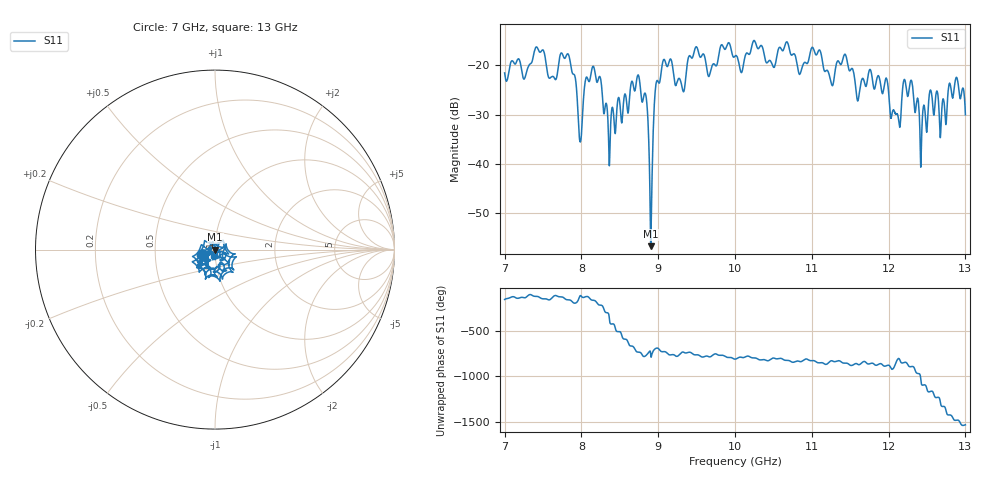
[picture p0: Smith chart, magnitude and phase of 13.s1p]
[Version] 2.0
! Rohde & Schwarz Vector Network Analyzer
! Rohde-Schwarz,ZNL20-2Port,1323001220200009,1.71.1.10-23.02.1.238
! Trace info:
! Nominal Param -> Actual Exported Buffer
! S11 -> S22
! Created: GMT+3 2024-09-24 16:38:59
# Hz S DB R 50
[Number of Ports] 1
! freq[Hz]  S11[mag dB]  S11[ang]
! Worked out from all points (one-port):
!   6001 points, 7 GHz to 13 GHz, reference 50 ohm
!   lowest |S11| = -56.8 dB at 8.902 GHz (marker M1), VSWR 1.00, Z = 50.1 - j0.105 ohm
!   |S11| at or under -10 dB: start of sweep to end of sweep
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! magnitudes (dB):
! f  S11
! 7 GHz  -21.5
! 7.75 GHz  -17.6
! 7.909 GHz  -21.9
! 7.984 GHz  -35.5
! 8.054 GHz  -22.9
! 8.149 GHz  -20.2
! 8.361 GHz  -39.6
! 8.5 GHz  -27.6
! 8.745 GHz  -22.1
! 8.844 GHz  -26.6
! 8.902 GHz  -56.8
! 8.982 GHz  -23.1
! 9.079 GHz  -18.8
! 9.25 GHz  -23.2
! 9.492 GHz  -16.2
! 9.66 GHz  -22.3
! 10 GHz  -18.1
! 10.75 GHz  -17.8
! 11.5 GHz  -21.1
! 11.6 GHz  -27.2
! 11.97 GHz  -22.6
! 12.13 GHz  -31.1
! 12.25 GHz  -26.3
! 12.42 GHz  -39.0
! 12.54 GHz  -25.0
! 12.68 GHz  -32.8
! 12.88 GHz  -22.5
! 13 GHz  -30.0
